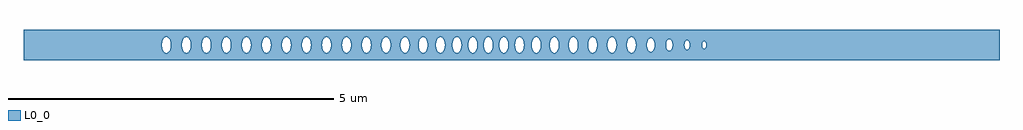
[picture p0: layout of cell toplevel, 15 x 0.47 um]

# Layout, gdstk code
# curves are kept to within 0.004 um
import gdstk
lib = gdstk.Library(unit=1e-6, precision=1e-09)
def P(c, l, *ps):  # polygons
    for p in ps: c.add(gdstk.Polygon(p, *l))
L0_0 = (0, 0)

toplevel = lib.new_cell('toplevel')
P(toplevel, L0_0, [(-4.759,0.016),(-4.746,0.072),(-4.746,0.235),(-7.5,0.235),(-7.5,-0.008),(-5.375,-0.008),(-5.373,0.031),(-5.359,0.079),(-5.338,0.109),(-5.309,0.124),(-5.278,0.115),(-5.253,0.085),(-5.237,0.038),(-5.235,-0.016),(-5.067,-0.016),(-5.064,0.038),(-5.054,0.073),(-5.031,0.109),(-5.001,0.124),(-4.975,0.118),(-4.952,0.096),(-4.935,0.06),(-4.926,0.008),(-4.931,-0.046),(-4.942,-0.079),(-4.963,-0.109),(-4.992,-0.124),(-5.019,-0.118),(-5.042,-0.096),(-5.061,-0.053),(-5.067,-0.016),(-5.235,-0.016),(-5.247,-0.073),(-5.26,-0.096),(-5.283,-0.118),(-5.309,-0.124),(-5.338,-0.109),(-5.356,-0.085),(-5.37,-0.046),(-5.375,-0.008),(-7.5,-0.008),(-7.5,-0.235),(-4.746,-0.235),(-4.746,-0.073),(-4.755,-0.046)],
  [(-4.74,0.085),(-4.711,0.118),(-4.694,0.124),(-4.676,0.122),(-4.651,0.105),(-4.632,0.073),(-4.622,0.038),(-4.619,-0.008),(-4.452,-0.008),(-4.447,0.046),(-4.433,0.085),(-4.403,0.118),(-4.377,0.124),(-4.347,0.109),(-4.33,0.085),(-4.314,0.038),(-4.311,-0.008),(-4.316,-0.046),(-4.336,-0.096),(-4.355,-0.115),(-4.377,-0.124),(-4.403,-0.118),(-4.43,-0.09),(-4.447,-0.046),(-4.452,-0.008),(-4.619,-0.008),(-4.625,-0.053),(-4.638,-0.085),(-4.655,-0.109),(-4.68,-0.123),(-4.702,-0.122),(-4.723,-0.109),(-4.746,-0.073),(-4.746,-0.235),(-4.069,-0.235),(-4.069,-0.124),(-4.096,-0.118),(-4.119,-0.096),(-4.131,-0.073),(-4.144,-0.016),(-4.141,0.038),(-4.125,0.085),(-4.096,0.118),(-4.069,0.124),(-4.069,0.235),(-4.746,0.235),(-4.746,0.073)],
  [(-4.004,-0.016),(-4.022,-0.085),(-4.04,-0.109),(-4.069,-0.124),(-4.069,-0.235),(-3.407,-0.235),(-3.407,-0.085),(-3.424,-0.109),(-3.445,-0.122),(-3.463,-0.124),(-3.48,-0.118),(-3.513,-0.079),(-3.529,-0.008),(-3.52,0.06),(-3.492,0.109),(-3.472,0.122),(-3.445,0.122),(-3.424,0.109),(-3.407,0.085),(-3.407,0.235),(-4.069,0.235),(-4.069,0.124),(-4.04,0.109),(-4.022,0.085),(-4.008,0.046),(-4.003,0),(-3.837,0),(-3.832,0.046),(-3.817,0.085),(-3.8,0.109),(-3.77,0.124),(-3.744,0.118),(-3.728,0.105),(-3.702,0.053),(-3.696,-0.016),(-3.704,-0.06),(-3.728,-0.105),(-3.757,-0.123),(-3.784,-0.12),(-3.811,-0.096),(-3.832,-0.046),(-3.837,0),(-4.003,0)],
  [(-3.407,0.235),(-3.407,0.085),(-3.391,0.038),(-3.388,-0.016),(-3.221,-0.016),(-3.218,0.038),(-3.208,0.073),(-3.185,0.109),(-3.155,0.124),(-3.129,0.118),(-3.102,0.09),(-3.085,0.046),(-3.08,0),(-2.914,0),(-2.909,0.046),(-2.894,0.085),(-2.877,0.109),(-2.847,0.124),(-2.821,0.118),(-2.798,0.096),(-2.781,0.06),(-2.773,0.016),(-2.776,-0.038),(-2.786,-0.073),(-2.809,-0.109),(-2.839,-0.124),(-2.865,-0.118),(-2.888,-0.096),(-2.909,-0.046),(-2.914,0),(-3.08,0),(-3.085,-0.046),(-3.099,-0.085),(-3.117,-0.109),(-3.146,-0.124),(-3.173,-0.118),(-3.196,-0.096),(-3.208,-0.073),(-3.221,-0.016),(-3.388,-0.016),(-3.407,-0.085),(-3.407,-0.235),(-2.606,-0.235),(-2.606,0.235)],
  [(-2.605,0.023),(-2.595,0.066),(-2.58,0.096),(-2.557,0.118),(-2.531,0.124),(-2.501,0.109),(-2.484,0.085),(-2.468,0.038),(-2.465,-0.008),(-2.3,-0.008),(-2.295,0.046),(-2.281,0.085),(-2.251,0.118),(-2.225,0.124),(-2.195,0.109),(-2.172,0.073),(-2.162,0.038),(-2.159,-0.016),(-2.167,-0.06),(-2.184,-0.096),(-2.207,-0.118),(-2.234,-0.124),(-2.263,-0.109),(-2.281,-0.085),(-2.295,-0.046),(-2.3,-0.008),(-2.465,-0.008),(-2.47,-0.046),(-2.49,-0.096),(-2.514,-0.118),(-2.54,-0.124),(-2.569,-0.109),(-2.587,-0.085),(-2.601,-0.046),(-2.606,-0.008),(-2.606,-0.235),(-1.97,-0.235),(-1.97,-0.1),(-1.986,-0.073),(-1.999,-0.008),(-1.994,0.046),(-1.97,0.1),(-1.97,0.235),(-2.606,0.235)],
  [(-1.963,0.109),(-1.942,0.122),(-1.924,0.124),(-1.891,0.105),(-1.867,0.06),(-1.858,-0.008),(-1.708,-0.008),(-1.705,0.038),(-1.686,0.09),(-1.659,0.118),(-1.642,0.124),(-1.624,0.122),(-1.6,0.105),(-1.583,0.079),(-1.569,0.031),(-1.567,-0.008),(-1.572,-0.046),(-1.586,-0.085),(-1.604,-0.109),(-1.633,-0.124),(-1.659,-0.118),(-1.686,-0.09),(-1.703,-0.046),(-1.708,-0.008),(-1.858,-0.008),(-1.869,-0.066),(-1.895,-0.109),(-1.915,-0.122),(-1.933,-0.124),(-1.955,-0.115),(-1.97,-0.1),(-1.97,-0.235),(-1.337,-0.235),(-1.337,-0.118),(-1.363,-0.124),(-1.393,-0.109),(-1.416,-0.073),(-1.429,-0.016),(-1.426,0.038),(-1.404,0.096),(-1.372,0.122),(-1.354,0.124),(-1.337,0.118),(-1.337,0.235),(-1.97,0.235),(-1.97,0.1)],
  [(-1.337,0.235),(-1.337,0.118),(-1.314,0.096),(-1.299,0.066),(-1.289,0.023),(-1.289,-0.016),(-1.163,-0.016),(-1.16,0.038),(-1.15,0.073),(-1.127,0.109),(-1.097,0.124),(-1.071,0.118),(-1.044,0.09),(-1.027,0.046),(-1.022,0.008),(-1.024,-0.031),(-1.038,-0.079),(-1.059,-0.109),(-1.088,-0.124),(-1.114,-0.118),(-1.138,-0.096),(-1.15,-0.073),(-1.163,-0.016),(-1.289,-0.016),(-1.304,-0.079),(-1.337,-0.118),(-1.337,-0.235),(-0.772,-0.235),(-0.772,-0.041),(-0.787,-0.085),(-0.801,-0.105),(-0.821,-0.12),(-0.843,-0.124),(-0.861,-0.118),(-0.884,-0.096),(-0.901,-0.06),(-0.909,-0.016),(-0.906,0.038),(-0.896,0.073),(-0.877,0.105),(-0.852,0.122),(-0.826,0.122),(-0.801,0.105),(-0.787,0.085),(-0.772,0.038),(-0.772,0.235)],
  [(-0.77,-0.023),(-0.772,-0.235),(-0.184,-0.235),(-0.184,-0.046),(-0.189,-0.016),(-0.184,0.235),(-0.772,0.235),(-0.768,-0.008),(-0.665,-0.008),(-0.662,0.038),(-0.646,0.085),(-0.621,0.115),(-0.59,0.124),(-0.561,0.109),(-0.54,0.079),(-0.526,0.031),(-0.525,-0.016),(-0.426,-0.016),(-0.42,0.053),(-0.394,0.105),(-0.36,0.124),(-0.343,0.122),(-0.322,0.109),(-0.294,0.06),(-0.286,-0.016),(-0.304,-0.085),(-0.338,-0.12),(-0.369,-0.122),(-0.394,-0.105),(-0.418,-0.06),(-0.426,-0.016),(-0.525,-0.016),(-0.529,-0.046),(-0.546,-0.09),(-0.561,-0.109),(-0.59,-0.124),(-0.621,-0.115),(-0.643,-0.09),(-0.66,-0.046),(-0.665,-0.008),(-0.768,-0.008)],
  [(-0.18,0.06),(-0.153,0.109),(-0.132,0.122),(-0.105,0.122),(-0.081,0.105),(-0.064,0.079),(-0.05,0.031),(-0.049,-0.016),(0.053,-0.016),(0.056,0.038),(0.072,0.085),(0.101,0.118),(0.128,0.124),(0.157,0.109),(0.175,0.085),(0.189,0.046),(0.194,-0.008),(0.189,-0.046),(0.175,-0.085),(0.157,-0.109),(0.128,-0.124),(0.101,-0.118),(0.078,-0.096),(0.066,-0.073),(0.053,-0.016),(-0.049,-0.016),(-0.053,-0.046),(-0.07,-0.09),(-0.085,-0.109),(-0.114,-0.124),(-0.132,-0.122),(-0.153,-0.109),(-0.176,-0.073),(-0.184,-0.046),(-0.184,-0.235),(0.371,-0.235),(0.371,-0.123),(0.335,-0.096),(0.318,-0.06),(0.31,-0.016),(0.313,0.038),(0.323,0.073),(0.342,0.105),(0.371,0.123),(0.371,0.235),(-0.184,0.235),(-0.184,0.046)],
  [(0.88,0.016),(0.895,0.079),(0.928,0.118),(0.945,0.124),(0.963,0.122),(0.984,0.109),(0.998,0.09),(0.998,0.235),(0.371,0.235),(0.371,0.123),(0.398,0.12),(0.425,0.096),(0.446,0.046),(0.45,-0.016),(0.587,-0.016),(0.59,0.038),(0.6,0.073),(0.623,0.109),(0.653,0.124),(0.679,0.118),(0.706,0.09),(0.723,0.046),(0.728,0.008),(0.726,-0.031),(0.712,-0.079),(0.691,-0.109),(0.662,-0.124),(0.636,-0.118),(0.612,-0.096),(0.6,-0.073),(0.587,-0.016),(0.45,-0.016),(0.442,-0.06),(0.425,-0.096),(0.402,-0.118),(0.371,-0.123),(0.371,-0.235),(0.998,-0.235),(0.998,-0.09),(0.984,-0.109),(0.963,-0.122),(0.936,-0.122),(0.916,-0.109),(0.888,-0.06),(0.88,-0.023)],
  [(1.019,-0.023),(0.998,-0.09),(0.998,-0.235),(1.773,-0.235),(1.773,0.235),(0.998,0.235),(0.998,0.09),(1.017,0.038),(1.02,-0.008),(1.176,-0.008),(1.178,0.031),(1.192,0.079),(1.213,0.109),(1.242,0.124),(1.277,0.112),(1.298,0.085),(1.314,0.038),(1.317,-0.008),(1.473,-0.008),(1.476,0.038),(1.499,0.096),(1.53,0.122),(1.548,0.124),(1.565,0.118),(1.598,0.079),(1.612,0.031),(1.614,-0.008),(1.598,-0.079),(1.581,-0.105),(1.557,-0.122),(1.53,-0.122),(1.499,-0.096),(1.482,-0.06),(1.473,-0.008),(1.317,-0.008),(1.314,-0.038),(1.298,-0.085),(1.277,-0.112),(1.251,-0.124),(1.225,-0.118),(1.198,-0.09),(1.181,-0.046),(1.176,-0.008),(1.02,-0.008)],
  [(1.775,0.031),(1.798,0.096),(1.822,0.118),(1.848,0.124),(1.877,0.109),(1.895,0.085),(1.909,0.046),(1.914,-0.007),(2.08,-0.007),(2.084,0.04),(2.099,0.079),(2.122,0.103),(2.144,0.108),(2.17,0.095),(2.19,0.064),(2.201,-0.014),(2.182,-0.079),(2.156,-0.105),(2.137,-0.108),(2.111,-0.095),(2.099,-0.079),(2.084,-0.04),(2.08,-0.007),(1.914,-0.007),(1.909,-0.046),(1.895,-0.085),(1.877,-0.109),(1.848,-0.124),(1.822,-0.118),(1.798,-0.096),(1.786,-0.073),(1.773,-0.016),(1.773,-0.235),(2.429,-0.235),(2.429,-0.092),(2.41,-0.088),(2.393,-0.071),(2.375,-0.012),(2.378,0.034),(2.393,0.071),(2.41,0.088),(2.429,0.092),(2.429,0.235),(1.773,0.235)],
  [(2.475,-0.017),(2.458,-0.071),(2.429,-0.092),(2.429,-0.235),(7.5,-0.235),(7.5,0.235),(2.429,0.235),(2.429,0.092),(2.45,0.081),(2.465,0.059),(2.476,-0.005),(2.657,-0.005),(2.668,0.052),(2.678,0.067),(2.696,0.076),(2.713,0.071),(2.728,0.052),(2.737,0.023),(2.738,-0.011),(2.932,-0.011),(2.941,0.044),(2.959,0.06),(2.981,0.049),(2.992,0.019),(2.99,-0.029),(2.981,-0.049),(2.966,-0.06),(2.944,-0.049),(2.932,-0.011),(2.738,-0.011),(2.728,-0.052),(2.718,-0.067),(2.701,-0.076),(2.688,-0.074),(2.672,-0.059),(2.657,-0.005),(2.476,-0.005)])

lib.write_gds('toplevel.gds')
